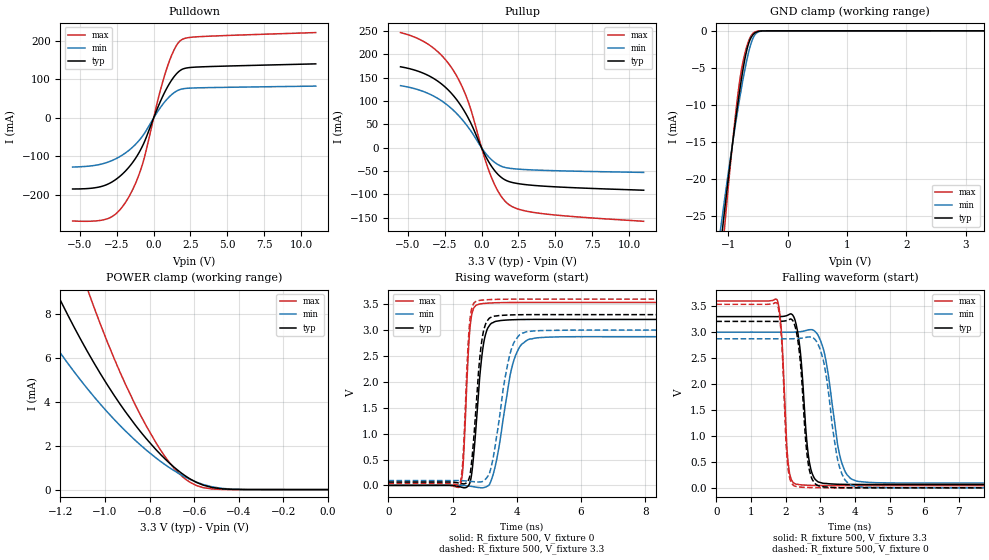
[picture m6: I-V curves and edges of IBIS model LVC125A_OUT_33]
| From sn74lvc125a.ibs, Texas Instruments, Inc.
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[Model]   LVC125A_OUT_33
Model_type  3-state
Enable   Active-Low
Vref =   0
Rref =   500
Cref =   50p
Vmeas =   1.5
| variable   typ   min   max
C_comp   3.92pF   3.51pF   4.34pF
| C_pullup   6.19pF   3.92pF   7.71pF
| C_pulldown   5.66pF   4.14pF   7.27pF
| C_tri-state   3.92pF   3.51pF   4.34pF
[Temperature Range]   40   100   -40
| Ambient temperature   25   85   -40
[Voltage range]   3.3   3   3.6
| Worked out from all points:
|   slope of the pulldown table from 0 to 0.495 V, typ, clamps not added: 10.7 ohm
|   slope of the pullup table from 0 to 0.495 V, typ, clamps not added: 16.1 ohm
|   GND clamp passes 1 mA (typ) near -0.62 V on its own axis
|   POWER clamp passes 1 mA (typ) near -0.69 V on its own axis
|   rising waveform, R_fixture 500, V_fixture 0: 20-80 % time 260ps typ, 458ps min, 160ps max; typ from 0 V to 3.21 V
|   falling waveform, R_fixture 500, V_fixture 3.3: 20-80 % time 221ps typ, 374ps min, 149ps max; typ from 3.3 V to 0.065 V
|   rising waveform, R_fixture 500, V_fixture 3.3: 20-80 % time 248ps typ, 439ps min, 155ps max; typ from 0.065 V to 3.3 V
|   falling waveform, R_fixture 500, V_fixture 0: 20-80 % time 214ps typ, 356ps min, 140ps max; typ from 3.21 V to 0 V
[GND Clamp]
| LVC125A_OUT_33
|   Voltage   I(typ)   I(min)   I(max)
-5.5V     -457.6mA   -381.7mA   -564.5mA
-1.115V   -28.18mA   -26mA      -31.55mA
-1.08V    -25.67mA   -23.92mA   -28.33mA
-1.06V    -24.25mA   -22.75mA   -26.53mA
-1.04V    -22.86mA   -21.59mA   -24.74mA
-885mV    -12.66mA   -13.06mA   -11.98mA
-795mV    -7.461mA   -8.588mA   -6.158mA
-685mV    -2.55mA    -3.908mA   -2.068mA
-635mV    -1.261mA   -2.252mA   -982.7uA
-575mV    -461.6uA   -876uA     -284.6uA
-420mV    -12.26uA   -22.95uA   -2.327uA
3.3V      65.12pA    1.007uA    32.85pA
[POWER Clamp]
| LVC125A_OUT_33
|   Voltage   I(typ)   I(min)   I(max)
-5.5V     208.4mA    160.5mA    290.8mA
-1.39V    12.86mA    9.177mA    19.6mA
-1.355V   12.03mA    8.592mA    18.27mA
-1.2V     8.608mA    6.21mA     12.83mA
-1.08V    6.3mA      4.602mA    9.152mA
-1.05V    5.771mA    4.233mA    8.311mA
-935mV    3.926mA    2.94mA     5.396mA
-815mV    2.319mA    1.8mA      2.897mA
-730mV    1.389mA    1.131mA    1.49mA
-640mV    626uA      571.9uA    482.8uA
-475mV    34.86uA    56.1uA     7.124uA
-95.1fV   65.12pA    225.1pA    36.19pA
[Pulldown]
| LVC125A_OUT_33
|   Voltage   I(typ)   I(min)   I(max)
-5.5V     -184.5mA   -127.5mA   -267.7mA
-3.065V   -171.1mA   -114.3mA   -260.8mA
-2.41V    -155.2mA   -102.8mA   -243.5mA
-1.76V    -131.5mA   -86.55mA   -210.1mA
-1.205V   -103.4mA   -67.54mA   -167.7mA
-740mV    -71.49mA   -46.34mA   -117.7mA
350mV     33.54mA    21.13mA    56.28mA
910mV     78.57mA    48.91mA    130.7mA
1.405V    108.2mA    66.2mA     178.4mA
1.835V    124.3mA    74.47mA    201.6mA
3.11V     132.6mA    78.38mA    211.3mA
11V       140.6mA    82.78mA    221.9mA
[Pullup]
| LVC125A_OUT_33
|   Voltage   I(typ)   I(min)   I(max)
-5.5V     173.5mA    133.1mA    246.8mA
-3.43V    151.7mA    113.5mA    217.5mA
-2.6V     133.6mA    98.06mA    194.1mA
-1.885V   110.7mA    79.41mA    164.1mA
-1.36V    88.16mA    61.93mA    133.5mA
-890mV    62.77mA    43.21mA    97.15mA
175mV     -11.85mA   -7.774mA   -18.76mA
680mV     -39.94mA   -25.74mA   -64.12mA
1.24V     -60.86mA   -38.17mA   -99.66mA
1.81V     -71.85mA   -43.55mA   -120.7mA
4V        -81.77mA   -48.17mA   -140.6mA
11V       -90.96mA   -52.82mA   -157.5mA
[Ramp]
| LVC125A_OUT_33
| variable   typ   min   max
dV/dt_r   1.95/2.68E-10   1.75/4.91E-10   2.15/1.67E-10
dV/dt_f   1.97/2.29E-10   1.77/4.09E-10   2.16/1.56E-10
R_load = 500
[Rising Waveform]
| LVC125A_OUT_33
R_fixture =   500
C_fixture =   0
L_fixture =   0
V_fixture =   0
V_fixture_min = 0
V_fixture_max = 0
|   Time   V(typ)   V(min)   V(max)
0s        176.4pV    3.399nV    20.94pV
2.24ns    -28.87mV   816.7uV    -930.9uV
2.33ns    -43.63mV   -2.155mV   420.7mV
2.55ns    74.2mV     -17.16mV   3.092V
2.84ns    2.057V     -43.85mV   3.505V
2.985ns   2.807V     -41.07mV   3.517V
3.175ns   3.113V     51.8mV     3.525V
3.875ns   3.201V     2.348V     3.535V
4.41ns    3.208V     2.829V     3.536V
24.99ns   3.207V     2.873V     3.536V
[Falling Waveform]
| LVC125A_OUT_33
R_fixture =   500
C_fixture =   0
L_fixture =   0
V_fixture =   3.3
V_fixture_min = 3
V_fixture_max = 3.6
|   Time   V(typ)   V(min)   V(max)
0s        3.3V       3V         3.6V
1.755ns   3.299V     3V         3.625V
1.88ns    3.301V     2.999V     3.017V
2.07ns    3.329V     2.998V     510.5mV
2.305ns   3.152V     3.002V     69.6mV
2.68ns    522mV      3.046V     48.4mV
3.065ns   89.77mV    2.732V     43.56mV
3.59ns    66.89mV    554.3mV    42.08mV
4.085ns   64.2mV     124.3mV    41.9mV
24.99ns   64.52mV    92.1mV     41.93mV
[Rising Waveform]
| LVC125A_OUT_33
R_fixture =   500
C_fixture =   0
L_fixture =   0
V_fixture =   3.3
V_fixture_min = 3
V_fixture_max = 3.6
|   Time   V(typ)   V(min)   V(max)
0s        64.52mV    92.1mV     41.93mV
2.24ns    39.36mV    92.58mV    58.22mV
2.325ns   30.3mV     89.88mV    530.6mV
2.53ns    164.2mV    78.23mV    3.133V
2.765ns   1.81V      65.35mV    3.567V
2.9ns     2.748V     69.48mV    3.579V
3.065ns   3.169V     147.9mV    3.588V
3.795ns   3.294V     2.557V     3.599V
4.325ns   3.3V       2.973V     3.6V
24.99ns   3.3V       3V         3.6V
[Falling Waveform]
| LVC125A_OUT_33
R_fixture =   500
C_fixture =   0
L_fixture =   0
V_fixture =   0
V_fixture_min = 0
V_fixture_max = 0
|   Time   V(typ)   V(min)   V(max)
0s        3.207V     2.873V     3.536V
1.755ns   3.207V     2.872V     3.556V
1.88ns    3.209V     2.872V     2.91V
2.065ns   3.232V     2.871V     408.2mV
2.335ns   2.923V     2.877V     20.27mV
2.655ns   461.1mV    2.907V     5.886mV
2.98ns    31.82mV    2.7V       1.964mV
3.54ns    1.924mV    438mV      100uV
4.035ns   -432.4uV   22.58mV    -89.65uV
24.99ns   -2.171nV   3.551nV    3.615nV
